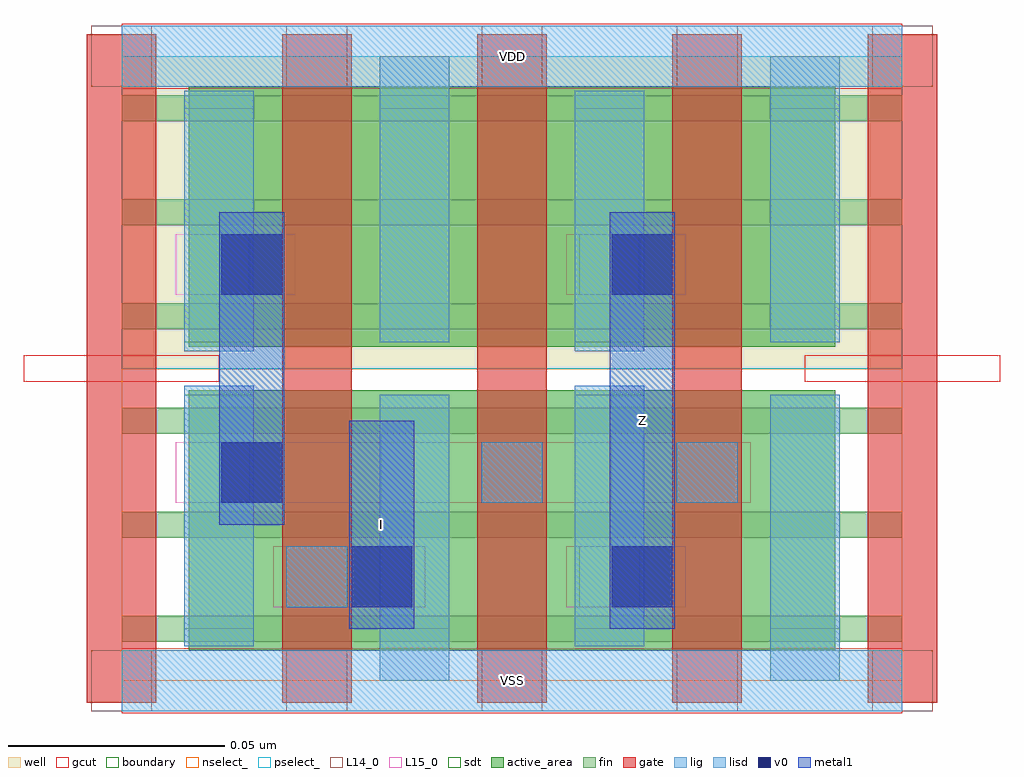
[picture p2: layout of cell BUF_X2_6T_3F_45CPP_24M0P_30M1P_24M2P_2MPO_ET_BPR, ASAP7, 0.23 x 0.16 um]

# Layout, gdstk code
import gdstk
lib = gdstk.Library(unit=1e-6, precision=2.5e-10)
def R(c, l, rs):  # rectangles x0, y0, x1, y1
    for r in rs: c.add(gdstk.rectangle(r[:2], r[2:], *l))
def A(c, l, x, y, w, h, nx, ny, dx, dy):  # array of equal rectangles
    R(c, l, [(x+i*dx, y+j*dy, x+i*dx+w, y+j*dy+h) for i in range(nx) for j in range(ny)])
well = (1, 0)
fin = (2, 0)
gate = (7, 0)
gcut = (10, 0)
active_area = (11, 0)
nselect_ = (12, 0)
pselect_ = (13, 0)
L14_0 = (14, 0)
L15_0 = (15, 0)
lig = (16, 0)
lisd = (17, 0)
v0 = (18, 0)
metal1 = (19, 0)
sdt = (88, 0)
boundary = (100, 0)

buf_x2_6t_3f_45cpp_24m0p = lib.new_cell('BUF_X2_6T_3F_45CPP_24M0P_30M1P_24M2P_2MPO_ET_BPR')
R(buf_x2_6t_3f_45cpp_24m0p, well, [(0,0.072,0.18,0.144)])
A(buf_x2_6t_3f_45cpp_24m0p, fin, 0, 0.009, 0.18, 0.006, 1, 6, 0, 0.024)
A(buf_x2_6t_3f_45cpp_24m0p, gate, -0.008, -0.005, 0.016, 0.154, 5, 1, 0.045, 0)
R(buf_x2_6t_3f_45cpp_24m0p, gcut, [(0,-0.0075,0.18,0.0075), (-0.0225,0.069,0.0225,0.075), (0.1575,0.069,0.2025,0.075), (0,0.1365,0.18,0.1515)])
R(buf_x2_6t_3f_45cpp_24m0p, active_area, [(0.0155,0.007,0.0745,0.067), (0.0605,0.007,0.1645,0.067), (0.0155,0.077,0.0745,0.137), (0.0605,0.077,0.1645,0.137)])
R(buf_x2_6t_3f_45cpp_24m0p, nselect_, [(0,0,0.18,0.072)])
R(buf_x2_6t_3f_45cpp_24m0p, pselect_, [(0,0.072,0.18,0.144)])
A(buf_x2_6t_3f_45cpp_24m0p, L14_0, -0.007, -0.007, 0.014, 0.014, 5, 2, 0.045, 0.144)
R(buf_x2_6t_3f_45cpp_24m0p, L14_0, [(0.038,0.017,0.052,0.031), (0.1055,0.017,0.1195,0.031), (0.0155,0.041,0.0295,0.055), (0.083,0.041,0.097,0.055), (0.128,0.041,0.142,0.055), (0.0155,0.089,0.0295,0.103), (0.1055,0.089,0.1195,0.103)])
R(buf_x2_6t_3f_45cpp_24m0p, L15_0, [(0,-0.007,0.18,0.007), (0.035,0.017,0.07,0.031), (0.1025,0.017,0.13,0.031), (0.0125,0.041,0.145,0.055), (0.0125,0.089,0.04,0.103), (0.1025,0.089,0.13,0.103), (0,0.137,0.18,0.151)])
R(buf_x2_6t_3f_45cpp_24m0p, lig, [(0,-0.007,0.18,0.007), (0.038,0.017,0.052,0.031), (0.083,0.041,0.097,0.055), (0.128,0.041,0.142,0.055), (0,0.137,0.18,0.151)])
R(buf_x2_6t_3f_45cpp_24m0p, lisd, [(0.0595,0,0.0755,0.066), (0.1495,0,0.1655,0.066), (0.0145,0.008,0.0305,0.068), (0.1045,0.008,0.1205,0.068), (0.0145,0.076,0.0305,0.136), (0.1045,0.076,0.1205,0.136), (0.0595,0.078,0.0755,0.144), (0.1495,0.078,0.1655,0.144)])
R(buf_x2_6t_3f_45cpp_24m0p, v0, [(0.053,0.017,0.067,0.031), (0.113,0.017,0.127,0.031), (0.023,0.041,0.037,0.055), (0.023,0.089,0.037,0.103), (0.113,0.089,0.127,0.103)])
R(buf_x2_6t_3f_45cpp_24m0p, metal1, [(0.0525,0.012,0.0675,0.06), (0.1125,0.012,0.1275,0.108), (0.0225,0.036,0.0375,0.108)])
A(buf_x2_6t_3f_45cpp_24m0p, sdt, 0.0145, 0.012, 0.016, 0.054, 4, 2, 0.045, 0.066)
R(buf_x2_6t_3f_45cpp_24m0p, boundary, [(0,0,0.18,0.144)])
buf_x2_6t_3f_45cpp_24m0p.add(gdstk.Label('Z', (0.12,0.06), layer=19, texttype=251))
buf_x2_6t_3f_45cpp_24m0p.add(gdstk.Label('I', (0.06,0.036), layer=19, texttype=251))
buf_x2_6t_3f_45cpp_24m0p.add(gdstk.Label('VDD', (0.09,0.144), layer=15, texttype=251))
buf_x2_6t_3f_45cpp_24m0p.add(gdstk.Label('VSS', (0.09,0), layer=15, texttype=251))
buf_x2_6t_3f_45cpp_24m0p.add(gdstk.Label('VDD', (0.09,0.144), layer=1, texttype=251))
buf_x2_6t_3f_45cpp_24m0p.add(gdstk.Label('VSS', (0.09,0), layer=3, texttype=251))

lib.write_gds('BUF_X2_6T_3F_45CPP_24M0P_30M1P_24M2P_2MPO_ET_BPR.gds')
